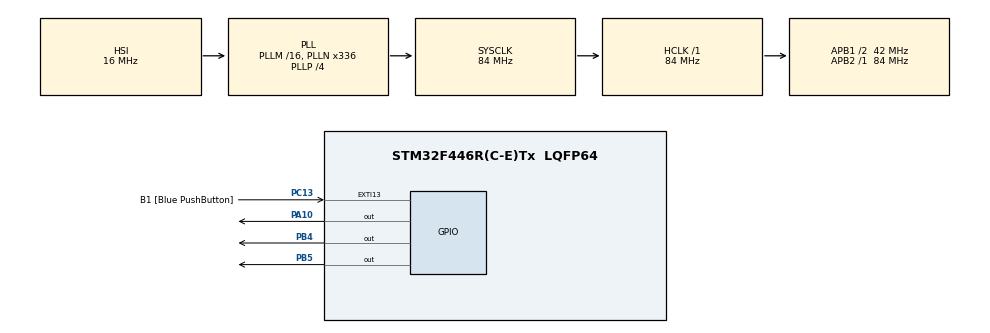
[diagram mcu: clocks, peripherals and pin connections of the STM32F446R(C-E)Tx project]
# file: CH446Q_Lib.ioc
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Mcu.Family=STM32F4
Mcu.Name=STM32F446R(C-E)Tx
Mcu.Package=LQFP64
NVIC.PriorityGroup=NVIC_PRIORITYGROUP_0
NVIC.TIM8_TRG_COM_TIM14_IRQn=true\:0\:0\:false\:false\:true\:true\:true\:true
PA10.Signal=GPIO_Output
PA13.GPIO_Label=TMS
PA13.Mode=Serial_Wire
PA13.Signal=SYS_JTMS-SWDIO
PA14.GPIO_Label=TCK
PA14.Mode=Serial_Wire
PA14.Signal=SYS_JTCK-SWCLK
PA2.GPIO_Label=USART_TX
PA2.Signal=USART2_TX
PA3.GPIO_Label=USART_RX
PA3.Signal=USART2_RX
PB3.GPIO_Label=SWO
PB3.Signal=SYS_JTDO-SWO
PB4.Signal=GPIO_Output
PB5.Signal=GPIO_Output
PC13.GPIO_Label=B1 [Blue PushButton]
PC13.GPIO_ModeDefaultEXTI=GPIO_MODE_IT_FALLING
PC13.Signal=GPXTI13
PC14-OSC32_IN.Mode=LSE-External-Oscillator
PC14-OSC32_IN.Signal=RCC_OSC32_IN
PC15-OSC32_OUT.Mode=LSE-External-Oscillator
PC15-OSC32_OUT.Signal=RCC_OSC32_OUT
PH0-OSC_IN.Mode=HSE-External-Oscillator
PH0-OSC_IN.Signal=RCC_OSC_IN
PH1-OSC_OUT.Mode=HSE-External-Oscillator
PH1-OSC_OUT.Signal=RCC_OSC_OUT
ProjectManager.HeapSize=0x200
ProjectManager.StackSize=0x400
ProjectManager.TargetToolchain=STM32CubeIDE
RCC.AHBFreq_Value=84000000
RCC.APB1CLKDivider=RCC_HCLK_DIV2
RCC.APB1Freq_Value=42000000
RCC.APB1TimFreq_Value=84000000
RCC.APB2Freq_Value=84000000
RCC.APB2TimFreq_Value=84000000
RCC.CortexFreq_Value=84000000
RCC.FLatency-AdvancedSettings=FLASH_LATENCY_2
RCC.HCLKFreq_Value=84000000
RCC.HSE_VALUE=8000000
RCC.HSI_VALUE=16000000
RCC.PLLN=336
RCC.PLLP=RCC_PLLP_DIV4
RCC.SYSCLKFreq_VALUE=84000000
RCC.SYSCLKSource=RCC_SYSCLKSOURCE_PLLCLK
RCC.USBFreq_Value=168000000
RCC.VCOOutputFreq_Value=336000000
TIM14.Channel=TIM_CHANNEL_1
TIM14.Period=84
TIM14.Prescaler=0
TIM14.Pulse=42
VP_TIM14_VS_ClockSourceINT.Mode=Enable_Timer
VP_TIM14_VS_no_output1.Mode=Output Compare1 No Output
board=NUCLEO-F446RE

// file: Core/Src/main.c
/* USER CODE BEGIN Header */
/**
  ******************************************************************************
  * @file           : main.c
  * @brief          : Main program body
  ******************************************************************************
  * @attention
  *
  * Copyright (c) 2023 STMicroelectronics.
  * All rights reserved.
  *
  * This software is licensed under terms that can be found in the LICENSE file
  * in the root directory of this software component.
  * If no LICENSE file comes with this software, it is provided AS-IS.
  *
  ******************************************************************************
  */
/* USER CODE END Header */
#include "main.h"
#include "tim.h"
#include "gpio.h"

/* USER CODE BEGIN Includes */
#include "Lib_CH446/Lib_STM32_CH446.h"
/* USER CODE END Includes */

/* USER CODE BEGIN PV */
CH446_Handler_TypeDef matrix_1 =
{
	.ControlPins =
	{
		.CLK = {
			.port = GPIOA,
			.pin = GPIO_PIN_10
		},
		.DAT = {
			.port = GPIOB,
			.pin = GPIO_PIN_5
		},
		.STB = {
			.port = GPIOB,
			.pin = GPIO_PIN_4
		}
	},
	.TIM = &htim14
};

/* USER CODE END PV */

void SystemClock_Config(void);

/* USER CODE BEGIN 0 */

void HAL_TIM_PeriodElapsedCallback(TIM_HandleTypeDef *htim)
{
	if( htim->Instance == matrix_1.TIM->Instance ) CH446_TIM_PeriodElapsed( &matrix_1 );

}

void HAL_TIM_OC_DelayElapsedCallback(TIM_HandleTypeDef *htim)
{
	if( htim->Instance == matrix_1.TIM->Instance ) CH446_TIM_HalfPeriodElapsed( &matrix_1 );

}

/* USER CODE END 0 */

int main(void)
{

  /* MCU Configuration--------------------------------------------------------*/

  /* Reset of all peripherals, Initializes the Flash interface and the Systick. */
  HAL_Init();

  /* Configure the system clock */
  SystemClock_Config();

  /* Initialize all configured peripherals */
  MX_GPIO_Init();
  MX_TIM14_Init();
  /* USER CODE BEGIN 2 */

  CH446_SetSpeed( &matrix_1, 20000 );
  //	  CH446_Reset( &matrix_1 );
//  CH446_Link( &matrix_1, 1, 15, 1 );

  /* USER CODE END 2 */

  /* Infinite loop */
  /* USER CODE BEGIN WHILE */
  while (1)
  {
	  CH446_Link( &matrix_1, 1, 14, 1 );
	  HAL_Delay(100);
    /* USER CODE END WHILE */

  }
}

void SystemClock_Config(void)
{
  RCC_OscInitTypeDef RCC_OscInitStruct = {0};
  RCC_ClkInitTypeDef RCC_ClkInitStruct = {0};

  /** Configure the main internal regulator output voltage
  */
  __HAL_RCC_PWR_CLK_ENABLE();
  __HAL_PWR_VOLTAGESCALING_CONFIG(PWR_REGULATOR_VOLTAGE_SCALE3);

  /** Initializes the RCC Oscillators according to the specified parameters
  * in the RCC_OscInitTypeDef structure.
  */
  RCC_OscInitStruct.OscillatorType = RCC_OSCILLATORTYPE_HSI;
  RCC_OscInitStruct.HSIState = RCC_HSI_ON;
  RCC_OscInitStruct.HSICalibrationValue = RCC_HSICALIBRATION_DEFAULT;
  RCC_OscInitStruct.PLL.PLLState = RCC_PLL_ON;
  RCC_OscInitStruct.PLL.PLLSource = RCC_PLLSOURCE_HSI;
  RCC_OscInitStruct.PLL.PLLM = 16;
  RCC_OscInitStruct.PLL.PLLN = 336;
  RCC_OscInitStruct.PLL.PLLP = RCC_PLLP_DIV4;
  RCC_OscInitStruct.PLL.PLLQ = 2;
  RCC_OscInitStruct.PLL.PLLR = 2;
  if (HAL_RCC_OscConfig(&RCC_OscInitStruct) != HAL_OK)
  {
    Error_Handler();
  }

  /** Initializes the CPU, AHB and APB buses clocks
  */
  RCC_ClkInitStruct.ClockType = RCC_CLOCKTYPE_HCLK|RCC_CLOCKTYPE_SYSCLK
                              |RCC_CLOCKTYPE_PCLK1|RCC_CLOCKTYPE_PCLK2;
  RCC_ClkInitStruct.SYSCLKSource = RCC_SYSCLKSOURCE_PLLCLK;
  RCC_ClkInitStruct.AHBCLKDivider = RCC_SYSCLK_DIV1;
  RCC_ClkInitStruct.APB1CLKDivider = RCC_HCLK_DIV2;
  RCC_ClkInitStruct.APB2CLKDivider = RCC_HCLK_DIV1;

  if (HAL_RCC_ClockConfig(&RCC_ClkInitStruct, FLASH_LATENCY_2) != HAL_OK)
  {
    Error_Handler();
  }
}

void Error_Handler(void)
{
  __disable_irq();
  while (1)
  {
  }
}
